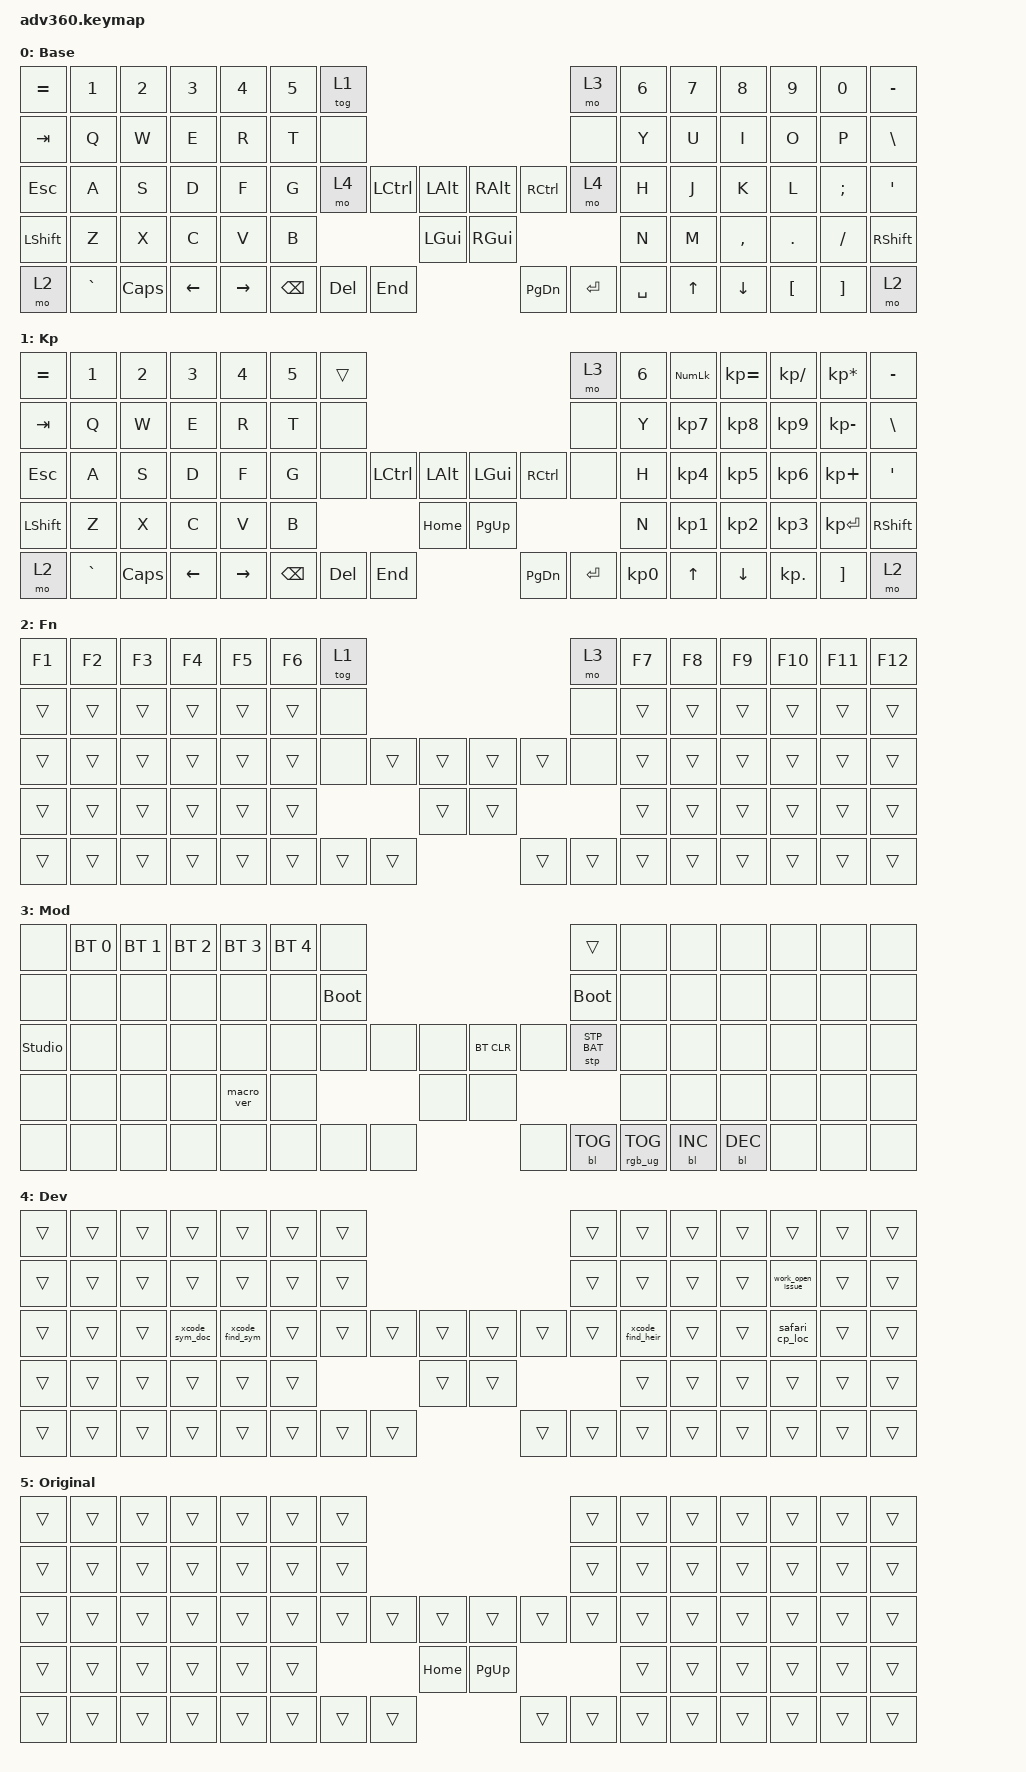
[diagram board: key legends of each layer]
#include <behaviors.dtsi>
#include <dt-bindings/zmk/keys.h>
#include <dt-bindings/zmk/bt.h>
#include <dt-bindings/zmk/rgb.h>
#include <dt-bindings/zmk/stp.h>
#include <dt-bindings/zmk/backlight.h>
#include <dt-bindings/zmk/pointing.h>

/ {
    behaviors {
      #include "macros.dtsi"
      #include "version.dtsi"
      #include "my_macros.dtsi"

      hm: homerow_mods {
          compatible = "zmk,behavior-hold-tap";
          label = "HOMEROW_MODS";
          #binding-cells = <2>;
          tapping-term-ms = <200>;
          quick_tap_ms = <175>;
          flavor = "tap-preferred";
          bindings = <&kp>, <&kp>;
      };
    };

  keymap {
    compatible = "zmk,keymap";

    default_layer {
      display-name = "Base";
      bindings = <
        &kp EQUAL &kp N1    &kp N2   &kp N3   &kp N4     &kp N5 &tog 1                                                           &mo 3 &kp N6 &kp N7 &kp N8    &kp N9   &kp N0   &kp MINUS
        &kp TAB   &kp Q     &kp W    &kp E    &kp R      &kp T  &none                                                            &none &kp Y  &kp U  &kp I     &kp O    &kp P    &kp BSLH
        &kp ESC   &kp A     &kp S    &kp D    &kp F      &kp G  &mo 4           &kp LCTRL &kp LALT &kp RALT  &kp RCTRL           &mo 4 &kp H  &kp J  &kp K     &kp L    &kp SEMI &kp SQT
        &kp LSHFT &kp Z     &kp X    &kp C    &kp V      &kp B                            &kp LGUI &kp RGUI                            &kp N  &kp M  &kp COMMA &kp DOT  &kp FSLH &kp RSHFT
        &mo 2     &kp GRAVE &kp CAPS &kp LEFT &kp RIGHT                &kp BSPC &kp DEL   &kp END  &kp PG_DN &kp ENTER &kp SPACE              &kp UP &kp DOWN  &kp LBKT &kp RBKT &mo 2
      >;
    };
    keypad {
      display-name = "Kp";
      bindings = <
        &kp EQUAL &kp N1    &kp N2   &kp N3   &kp N4     &kp N5 &trans                                                           &mo 3 &kp N6 &kp KP_NUM &kp KP_EQUAL &kp KP_DIVIDE &kp KP_MULTIPLY &kp MINUS
        &kp TAB   &kp Q     &kp W    &kp E    &kp R      &kp T  &none                                                            &none &kp Y  &kp KP_N7  &kp KP_N8    &kp KP_N9     &kp KP_MINUS    &kp BSLH
        &kp ESC   &kp A     &kp S    &kp D    &kp F      &kp G  &none           &kp LCTRL &kp LALT &kp LGUI  &kp RCTRL           &none &kp H  &kp KP_N4  &kp KP_N5    &kp KP_N6     &kp KP_PLUS     &kp SQT
        &kp LSHFT &kp Z     &kp X    &kp C    &kp V      &kp B                            &kp HOME &kp PG_UP                           &kp N  &kp KP_N1  &kp KP_N2    &kp KP_N3     &kp KP_ENTER    &kp RSHFT
        &mo 2     &kp GRAVE &kp CAPS &kp LEFT &kp RIGHT                &kp BSPC &kp DEL   &kp END  &kp PG_DN &kp ENTER &kp KP_N0              &kp UP     &kp DOWN     &kp KP_DOT    &kp RBKT        &mo 2
      >;
    };
    fn {
      display-name = "Fn";
      bindings = <
        &kp F1 &kp F2 &kp F3 &kp F4 &kp F5 &kp F6 &tog 1                                           &mo 3 &kp F7 &kp F8 &kp F9 &kp F10 &kp F11 &kp F12
        &trans &trans &trans &trans &trans &trans  &none                                           &none &trans &trans &trans &trans  &trans  &trans
        &trans &trans &trans &trans &trans &trans  &none        &trans &trans &trans &trans        &none &trans &trans &trans &trans  &trans  &trans
        &trans &trans &trans &trans &trans &trans                      &trans &trans                     &trans &trans &trans &trans  &trans  &trans
        &trans &trans &trans &trans &trans               &trans &trans &trans &trans &trans &trans              &trans &trans &trans  &trans  &trans
      >;
    };
    mod {
      display-name = "Mod";
      bindings = <
        &none &bt BT_SEL 0 &bt BT_SEL 1 &bt BT_SEL 2 &bt BT_SEL 3 &bt BT_SEL 4 &none                                                                     &trans                 &none        &none        &none        &none &none &none
        &none &none        &none        &none        &none        &none        &bootloader                                                               &bootloader            &none        &none        &none        &none &none &none
        &studio_unlock &none        &none        &none        &none        &none        &none                   &none &none &bt BT_CLR &none                      &stp STP_BAT &none        &none        &none        &none &none &none
        &none &none        &none        &none        &macro_ver   &none                                      &none &none                                                        &none        &none        &none        &none &none &none
        &none &none        &none        &none        &none                                       &none &none &none &none      &bl BL_TOG &rgb_ug RGB_TOG                                     &bl BL_INC   &bl BL_DEC   &none &none &none
      >;
    };
    
    dev {
      display-name = "Dev";
      bindings = <
        &trans         &trans         &trans         &trans         &trans          &trans         &trans                                                         &trans         &trans           &trans        &trans        &trans           &trans         &trans 
        &trans         &trans         &trans         &trans         &trans          &trans         &trans                                                         &trans         &trans           &trans        &trans        &work_open_issue &trans         &trans
        &trans         &trans         &trans         &xcode_sym_doc &xcode_find_sym &trans         &trans              &trans &trans &trans &trans                &trans         &xcode_find_heir &trans        &trans        &safari_cp_loc   &trans         &trans
        &trans         &trans         &trans         &trans         &trans          &trans                                    &trans &trans                                      &trans           &trans        &trans        &trans           &trans         &trans
        &trans         &trans         &trans         &trans         &trans                                      &trans &trans &trans &trans &trans &trans                                         &trans        &trans        &trans           &trans         &trans
      >;
    };
    original {
      display-name = "Original";
      bindings = <
        &trans &trans &trans &trans &trans &trans &trans                                                       &trans &trans &trans &trans &trans &trans &trans 
        &trans &trans &trans &trans &trans &trans &trans                                                       &trans &trans &trans &trans &trans &trans &trans
        &trans &trans &trans &trans &trans &trans &trans          &trans    &trans   &trans    &trans          &trans &trans &trans &trans &trans &trans &trans
        &trans &trans &trans &trans &trans &trans                           &kp HOME &kp PG_UP                        &trans &trans &trans &trans &trans &trans
        &trans &trans &trans &trans &trans              &trans    &trans    &trans   &trans    &trans   &trans               &trans &trans &trans &trans &trans
      >;
    };
    
    extra1 { 
      display-name = "Red";    
      status = "reserved";
    };

    extra2 { 
      display-name = "Purple";    
      status = "reserved";
    };

    extra3 { 
      display-name = "Cyan";    
      status = "reserved";
    };

    extra4 { 
      display-name = "Yellow";    
      status = "reserved";
    };
  };
};
